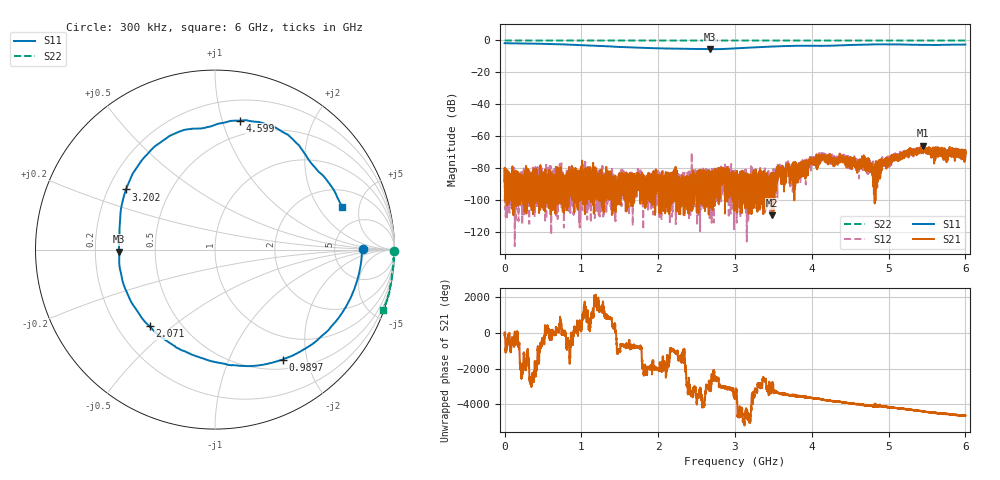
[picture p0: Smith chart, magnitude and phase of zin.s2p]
!  8/10/2020  02:02:49
! Ref Plane: 0.000 mm
# MHZ S MA R  50
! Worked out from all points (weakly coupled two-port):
!   10001 points, 300 kHz to 6 GHz, reference 50 ohm
!   highest |S21| = -65.96 dB at 5.442 GHz (marker M1); lowest = -109.8 dB at 3.482 GHz (marker M2)
!   lowest |S11| = -5.5 dB at 2.669 GHz (marker M3), VSWR 3.29, Z = 15.2 - j0.463 ohm
!   |S11| at or under -10 dB: nowhere
!   |S22| runs from -0.1 to 0.0 dB; largest |S21 - S12| = 0.00027
!   S11 on the Smith chart (normalised r, x): 300 kHz: 10, +0; 989.7 MHz: 0.63, -1.60; 2.071 GHz: 0.33, -0.42; 3.202 GHz: 0.27, +0.28; 4.599 GHz: 0.37, +1.14; 6 GHz: 3.11, +3.32
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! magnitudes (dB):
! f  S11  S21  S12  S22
! 300 kHz  -1.7  -86.4  -87.1  0.0
! 989.7 MHz  -2.9  -82.7  -81.8  0.0
! 1 GHz  -2.9  -83.3  -86.6  0.0
! 2.001 GHz  -4.9  -86.4  -102.8  0.0
! 2.071 GHz  -5.0  -92.1  -92.7  0.0
! 2.669 GHz  -5.5  -83.8  -81.8  0.0
! 3 GHz  -5.0  -83.0  -87.8  0.0
! 3.202 GHz  -4.5  -90.4  -89.4  0.0
! 3.482 GHz  -3.8  -109.8  -84.5  0.0
! 3.835 GHz  -3.3  -80.0  -79.7  0.0
! 4 GHz  -3.3  -77.0  -73.3  0.0
! 4.151 GHz  -3.3  -72.9  -71.3  0.0
! 4.298 GHz  -3.2  -74.3  -74.6  0.0
! 4.384 GHz  -3.0  -74.7  -74.3  0.0
! 4.599 GHz  -2.7  -79.9  -78.5  0.0
! 4.673 GHz  -2.6  -74.7  -76.6  0.0
! 4.831 GHz  -2.5  -82.4  -84.4  0.0
! 5 GHz  -2.4  -77.7  -75.8  0.0
! 5.224 GHz  -2.5  -70.7  -69.2  0.0
! 5.442 GHz  -2.8  -66.0  -67.6  0.0
! 5.57 GHz  -2.8  -68.8  -70.5  0.0
! 6 GHz  -2.6  -69.3  -67.7  -0.1
